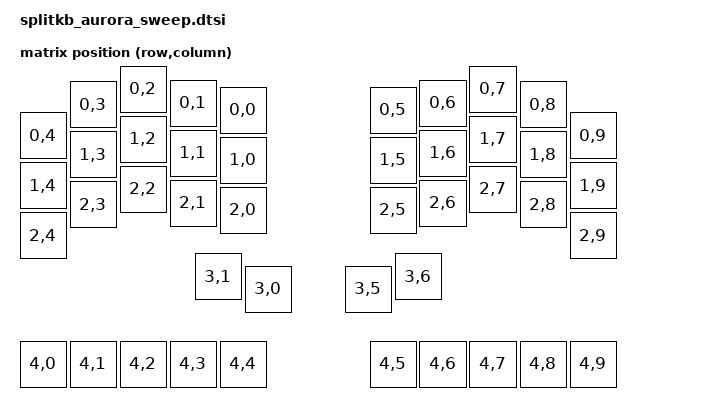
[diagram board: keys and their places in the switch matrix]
#include <physical_layouts.dtsi>
#include <dt-bindings/led/led.h>

/ {
    chosen {
        zmk,physical-layout = &halcyon_layout; 
        zmk,kscan = &kscan_composite;
        zmk,underglow = &led_strip;
    };

    halcyon_transform: keymap_transform_0 {
        compatible = "zmk,matrix-transform";
        columns = <10>;
        rows = <5>;
        map = <
        RC(0,4)  RC(0,3)  RC(0,2)  RC(0,1)  RC(0,0)  RC(0,5) RC(0,6) RC(0,7) RC(0,8) RC(0,9)
        RC(1,4)  RC(1,3)  RC(1,2)  RC(1,1)  RC(1,0)  RC(1,5) RC(1,6) RC(1,7) RC(1,8) RC(1,9)
        RC(2,4)  RC(2,3)  RC(2,2)  RC(2,1)  RC(2,0)  RC(2,5) RC(2,6) RC(2,7) RC(2,8) RC(2,9)
                                   RC(3,1)  RC(3,0)  RC(3,5) RC(3,6)

        RC(4,0)  RC(4,1)  RC(4,2)  RC(4,3)  RC(4,4)  RC(4,5) RC(4,6) RC(4,7) RC(4,8) RC(4,9)
        >;
    };

    halcyon_layout: halcyon_layout {
        compatible = "zmk,physical-layout";
        display-name = "Aurora Sweep";
        transform = <&halcyon_transform>;

        keys  //                     w   h    x    y     rot    rx    ry
            = <&key_physical_attrs 100 100    0   93       0     0     0>
            , <&key_physical_attrs 100 100  100   31       0     0     0>
            , <&key_physical_attrs 100 100  200    0       0     0     0>
            , <&key_physical_attrs 100 100  300   28       0     0     0>
            , <&key_physical_attrs 100 100  400   42       0     0     0>
            , <&key_physical_attrs 100 100  700   42       0     0     0>
            , <&key_physical_attrs 100 100  800   28       0     0     0>
            , <&key_physical_attrs 100 100  900    0       0     0     0>
            , <&key_physical_attrs 100 100 1000   31       0     0     0>
            , <&key_physical_attrs 100 100 1100   93       0     0     0>
            , <&key_physical_attrs 100 100    0  193       0     0     0>
            , <&key_physical_attrs 100 100  100  131       0     0     0>
            , <&key_physical_attrs 100 100  200  100       0     0     0>
            , <&key_physical_attrs 100 100  300  128       0     0     0>
            , <&key_physical_attrs 100 100  400  142       0     0     0>
            , <&key_physical_attrs 100 100  700  142       0     0     0>
            , <&key_physical_attrs 100 100  800  128       0     0     0>
            , <&key_physical_attrs 100 100  900  100       0     0     0>
            , <&key_physical_attrs 100 100 1000  131       0     0     0>
            , <&key_physical_attrs 100 100 1100  193       0     0     0>
            , <&key_physical_attrs 100 100    0  293       0     0     0>
            , <&key_physical_attrs 100 100  100  231       0     0     0>
            , <&key_physical_attrs 100 100  200  200       0     0     0>
            , <&key_physical_attrs 100 100  300  228       0     0     0>
            , <&key_physical_attrs 100 100  400  242       0     0     0>
            , <&key_physical_attrs 100 100  700  242       0     0     0>
            , <&key_physical_attrs 100 100  800  228       0     0     0>
            , <&key_physical_attrs 100 100  900  200       0     0     0>
            , <&key_physical_attrs 100 100 1000  231       0     0     0>
            , <&key_physical_attrs 100 100 1100  293       0     0     0>
            , <&key_physical_attrs 100 100  350  375       0     0     0>
            , <&key_physical_attrs 100 100  450  400       0     0     0>
            , <&key_physical_attrs 100 100  650  400       0     0     0>
            , <&key_physical_attrs 100 100  750  375       0     0     0>
            , <&key_physical_attrs 100 100    0  550       0     0     0>
            , <&key_physical_attrs 100 100  100  550       0     0     0>
            , <&key_physical_attrs 100 100  200  550       0     0     0>
            , <&key_physical_attrs 100 100  300  550       0     0     0>
            , <&key_physical_attrs 100 100  400  550       0     0     0>
            , <&key_physical_attrs 100 100  700  550       0     0     0>
            , <&key_physical_attrs 100 100  800  550       0     0     0>
            , <&key_physical_attrs 100 100  900  550       0     0     0>
            , <&key_physical_attrs 100 100 1000  550       0     0     0>
            , <&key_physical_attrs 100 100 1100  550       0     0     0>
            ;
    };

    kscan_composite: kscan_composite {
        compatible = "zmk,kscan-composite";
        columns = <10>; // Match your keyboard's column count
        rows = <5>;    // Total rows including the Halcyon row
        wakeup-source;

        matrix {
            kscan = <&kscan>; // Match your keyboard's existing kscan
        };

        halcyon {
            kscan = <&kscan_halcyon>;
            row-offset = <4>; // Number of existing rows (0-indexed)
        };
    };

    sensors: sensors {
        compatible = "zmk,keymap-sensors";
        // Place Halcyon encoders before your physical board encoders
        sensors = <&left_halcyon_encoder &right_halcyon_encoder &left_encoder1 &right_encoder1 &left_encoder2 &right_encoder2>;
        triggers-per-rotation = <20>;
    };
};

&pinctrl {
    spi2_default: spi2_default {
        group1 {
            psels = <NRF_PSEL(SPIM_SCK, 1, 4)>, /* Not connected */
                    <NRF_PSEL(SPIM_MOSI, 0, 27)>;
        };
    };

    spi2_sleep: spi2_sleep {
        group1 {
            psels = <NRF_PSEL(SPIM_SCK, 1, 4)>, /* Not connected */
                    <NRF_PSEL(SPIM_MOSI, 0, 27)>;
            low-power-enable;
        };
    };
};

&spi2 {
    compatible = "nordic,nrf-spim";
    status = "okay";

    pinctrl-0 = <&spi2_default>;
    pinctrl-1 = <&spi2_sleep>;
    pinctrl-names = "default", "sleep";

    led_strip: ws2812@0 {
        compatible = "worldsemi,ws2812-spi";

        /* SPI */
        reg = <0>; /* ignored, but necessary for SPI bindings */
        spi-max-frequency = <4000000>;

        /* WS2812 */
        chain-length = <23>; /* arbitrary; change at will */
        spi-one-frame = <0x70>;
        spi-zero-frame = <0x40>;

        color-mapping = <LED_COLOR_ID_GREEN 
                LED_COLOR_ID_RED 
                LED_COLOR_ID_BLUE>;
    };
};
